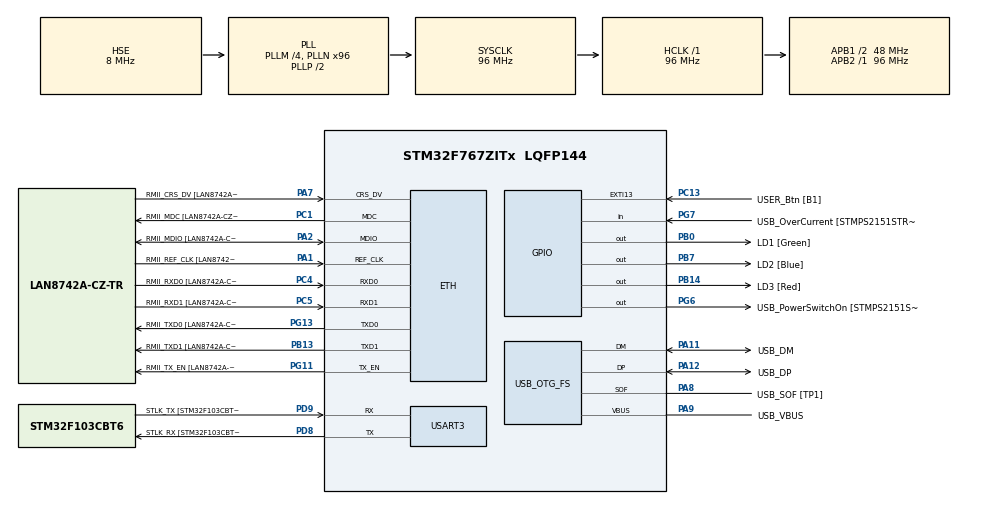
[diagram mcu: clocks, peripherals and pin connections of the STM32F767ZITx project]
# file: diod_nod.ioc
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ETH.MediaInterface=HAL_ETH_RMII_MODE
ETH.PHY_Name=LAN8742A_PHY_ADDRESS
ETH.PHY_Value=0
ETH.PhyAddress=0
Mcu.Family=STM32F7
Mcu.Name=STM32F767ZITx
Mcu.Package=LQFP144
NVIC.PriorityGroup=NVIC_PRIORITYGROUP_4
NVIC.USART3_IRQn=true\:0\:0\:false\:false\:true\:true\:true\:true
PA1.GPIO_Label=RMII_REF_CLK [LAN8742A-CZ-TR_REFCLK0]
PA1.Mode=RMII
PA1.Signal=ETH_REF_CLK
PA10.GPIO_Label=USB_ID
PA10.Signal=USB_OTG_FS_ID
PA11.GPIO_Label=USB_DM
PA11.Mode=Device_Only
PA11.Signal=USB_OTG_FS_DM
PA12.GPIO_Label=USB_DP
PA12.Mode=Device_Only
PA12.Signal=USB_OTG_FS_DP
PA13.GPIO_Label=TMS
PA13.Mode=Serial_Wire
PA13.Signal=SYS_JTMS-SWDIO
PA14.GPIO_Label=TCK
PA14.Mode=Serial_Wire
PA14.Signal=SYS_JTCK-SWCLK
PA2.GPIO_Label=RMII_MDIO [LAN8742A-CZ-TR_MDIO]
PA2.Mode=RMII
PA2.Signal=ETH_MDIO
PA7.GPIO_Label=RMII_CRS_DV [LAN8742A-CZ-TR_CRS_DV]
PA7.Mode=RMII
PA7.Signal=ETH_CRS_DV
PA8.GPIO_Label=USB_SOF [TP1]
PA8.Mode=Activate_SOF_FS
PA8.Signal=USB_OTG_FS_SOF
PA9.GPIO_Label=USB_VBUS
PA9.Mode=Activate_VBUS
PA9.Signal=USB_OTG_FS_VBUS
PB0.GPIO_Label=LD1 [Green]
PB0.Signal=GPIO_Output
PB13.GPIO_Label=RMII_TXD1 [LAN8742A-CZ-TR_TXD1]
PB13.Mode=RMII
PB13.Signal=ETH_TXD1
PB14.GPIO_Label=LD3 [Red]
PB14.Signal=GPIO_Output
PB3.GPIO_Label=SWO
PB3.Signal=SYS_JTDO-SWO
PB7.GPIO_Label=LD2 [Blue]
PB7.Signal=GPIO_Output
PC1.GPIO_Label=RMII_MDC [LAN8742A-CZ-TR_MDC]
PC1.Mode=RMII
PC1.Signal=ETH_MDC
PC13.GPIO_Label=USER_Btn [B1]
PC13.Signal=GPXTI13
PC14/OSC32_IN.Mode=LSE-External-Oscillator
PC14/OSC32_IN.Signal=RCC_OSC32_IN
PC15/OSC32_OUT.Mode=LSE-External-Oscillator
PC15/OSC32_OUT.Signal=RCC_OSC32_OUT
PC4.GPIO_Label=RMII_RXD0 [LAN8742A-CZ-TR_RXD0]
PC4.Mode=RMII
PC4.Signal=ETH_RXD0
PC5.GPIO_Label=RMII_RXD1 [LAN8742A-CZ-TR_RXD1]
PC5.Mode=RMII
PC5.Signal=ETH_RXD1
PD8.GPIO_Label=STLK_RX [STM32F103CBT6_PA3]
PD8.Mode=Asynchronous
PD8.Signal=USART3_TX
PD9.GPIO_Label=STLK_TX [STM32F103CBT6_PA2]
PD9.Mode=Asynchronous
PD9.Signal=USART3_RX
PG11.GPIO_Label=RMII_TX_EN [LAN8742A-CZ-TR_TXEN]
PG11.Mode=RMII
PG11.Signal=ETH_TX_EN
PG13.GPIO_Label=RMII_TXD0 [LAN8742A-CZ-TR_TXD0]
PG13.Mode=RMII
PG13.Signal=ETH_TXD0
PG6.GPIO_Label=USB_PowerSwitchOn [STMPS2151STR_EN]
PG6.Signal=GPIO_Output
PG7.GPIO_Label=USB_OverCurrent [STMPS2151STR_FAULT]
PG7.Signal=GPIO_Input
PH0/OSC_IN.GPIO_Label=MCO [STM32F103CBT6_PA8]
PH0/OSC_IN.Mode=HSE-External-Clock-Source
PH0/OSC_IN.Signal=RCC_OSC_IN
PH1/OSC_OUT.Mode=HSE-External-Clock-Source
PH1/OSC_OUT.Signal=RCC_OSC_OUT
ProjectManager.HeapSize=0x200
ProjectManager.StackSize=0x400
ProjectManager.TargetToolchain=STM32CubeIDE
RCC.48MHZClocksFreq_Value=24000000
RCC.AHBFreq_Value=96000000
RCC.APB1CLKDivider=RCC_HCLK_DIV2
RCC.APB1Freq_Value=48000000
RCC.APB1TimFreq_Value=96000000
RCC.APB2Freq_Value=96000000
RCC.APB2TimFreq_Value=96000000
RCC.CortexFreq_Value=96000000
RCC.HCLKFreq_Value=96000000
RCC.HSE_VALUE=8000000
RCC.HSI_VALUE=16000000
RCC.PLLM=4
RCC.PLLMUL=RCC_PLL_MUL9
RCC.PLLN=96
RCC.PLLQ=4
RCC.PRESCALERUSB=RCC_USBCLKSOURCE_PLL_DIV1_5
RCC.SYSCLKFreq_VALUE=96000000
RCC.SYSCLKSource=RCC_SYSCLKSOURCE_PLLCLK
RCC.SYSCLKSourceVirtual=RCC_SYSCLKSOURCE_PLLCLK
RCC.USBFreq_Value=48000000
RCC.VCOOutputFreq_Value=192000000
USART3.VirtualMode-Asynchronous=VM_ASYNC
USB_OTG_FS.VirtualMode=Device_Only
board=NUCLEO-F767ZI

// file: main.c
/* USER CODE BEGIN Header */
/**
  ******************************************************************************
  * @file           : main.c
  * @brief          : Main program body
  ******************************************************************************
  * @attention
  *
  * Copyright (c) 2025 STMicroelectronics.
  * All rights reserved.
  *
  * This software is licensed under terms that can be found in the LICENSE file
  * in the root directory of this software component.
  * If no LICENSE file comes with this software, it is provided AS-IS.
  *
  ******************************************************************************
  */
/* USER CODE END Header */
#include "main.h"
#include "string.h"

/* USER CODE BEGIN PTD */
#define RECIVE_BUFFER_SIZE 256
#define INVALID -1

typedef struct
{
	uint8_t text[RECIVE_BUFFER_SIZE];
	uint8_t pos;
	uint8_t parse_pos;
	uint8_t token[RECIVE_BUFFER_SIZE];
} buffer;
/* USER CODE END PTD */

#if defined ( __ICCARM__ ) /*!< IAR Compiler */
#pragma location=0x2007c000
ETH_DMADescTypeDef  DMARxDscrTab[ETH_RX_DESC_CNT]; /* Ethernet Rx DMA Descriptors */
#pragma location=0x2007c0a0
ETH_DMADescTypeDef  DMATxDscrTab[ETH_TX_DESC_CNT]; /* Ethernet Tx DMA Descriptors */

#elif defined ( __CC_ARM )  /* MDK ARM Compiler */

__attribute__((at(0x2007c000))) ETH_DMADescTypeDef  DMARxDscrTab[ETH_RX_DESC_CNT]; /* Ethernet Rx DMA Descriptors */
__attribute__((at(0x2007c0a0))) ETH_DMADescTypeDef  DMATxDscrTab[ETH_TX_DESC_CNT]; /* Ethernet Tx DMA Descriptors */

#elif defined ( __GNUC__ ) /* GNU Compiler */

ETH_DMADescTypeDef DMARxDscrTab[ETH_RX_DESC_CNT] __attribute__((section(".RxDecripSection"))); /* Ethernet Rx DMA Descriptors */
ETH_DMADescTypeDef DMATxDscrTab[ETH_TX_DESC_CNT] __attribute__((section(".TxDecripSection")));   /* Ethernet Tx DMA Descriptors */
#endif

ETH_TxPacketConfig TxConfig;

ETH_HandleTypeDef heth;

UART_HandleTypeDef huart3;

PCD_HandleTypeDef hpcd_USB_OTG_FS;

/* USER CODE BEGIN PV */
char* error_msg = "\nerror invalid arguments";
char* success_msg = "\nok";

static uint16_t LD_Pins[3] = {LD1_Pin, LD2_Pin, LD3_Pin};
static unsigned long LD_Ports[3] = {LD1_GPIO_Port, LD2_GPIO_Port, LD3_GPIO_Port};

buffer buf;
/* USER CODE END PV */

void SystemClock_Config(void);
static void MX_GPIO_Init(void);
static void MX_ETH_Init(void);
static void MX_USART3_UART_Init(void);
static void MX_USB_OTG_FS_PCD_Init(void);

/* USER CODE BEGIN 0 */

void uart_print(char* str)
{
    HAL_UART_Transmit(&huart3, str, strlen(str), HAL_MAX_DELAY);
}

void uart_print_int(int num)
{
	char str[20] = {0};
	sprintf(str, "%d", num);
	uart_print(str);
}

int try_switch_LD(GPIO_PinState state, int diod_index)
{
	if (diod_index < 1 || diod_index > 3)
	{
		uart_print(error_msg);
		return 1;
	}
	uart_print(success_msg);
	HAL_GPIO_WritePin(LD_Ports[diod_index - 1], LD_Pins[diod_index - 1], state);
	return 0;
}

// Read token (space separated string) from global buffer. Stored in buffer.token field.
// Parsing state persists in global buffer object, so each call reads next token.
char* buffer_get_next_token()
{
	// skip whitespaces
	while (buf.parse_pos < buf.pos && buf.text[buf.parse_pos] == ' ')
		++buf.parse_pos;

	size_t token_pos = 0;
	while (buf.parse_pos < buf.pos && buf.text[buf.parse_pos] != ' ' && buf.parse_pos < RECIVE_BUFFER_SIZE - 1)
		buf.token[token_pos++] = buf.text[buf.parse_pos++];
	buf.token[token_pos] = '\0';

	return buf.token;
}

// Returns number from string as int. Returns 0 if string contains non digit symbols
int parse_integer(char* str)
{
	int number = 0;
	int i = 0;
	int len = strlen(str);
	while (i < len)
	{
		if (str[i] >= '0' && str[i] <= '9')
			number = number * 10 + (str[i++] - '0');
		else
			return 0;
	}
	return number;
}

void HAL_UART_RxCpltCallback(UART_HandleTypeDef *huart)
{
	 if (huart == &huart3)
	 {
		 // Output all pressed keys back to user.
		 HAL_UART_Transmit(&huart3, buf.text + buf.pos, 1, HAL_MAX_DELAY);

		 // If end of command occurs
		 if (buf.text[buf.pos] == '\r')
		 {
			 buffer_get_next_token();
			 GPIO_PinState state = INVALID;
			 if (strcmp(buf.token, "on") == 0)
				 state = GPIO_PIN_SET;
			 else if (strcmp(buf.token, "off") == 0)
				 state = GPIO_PIN_RESET;

			 if (state == INVALID)
			 {
				 uart_print(error_msg);
			 }
			 else
			 {
				 int diod_num = parse_integer(buffer_get_next_token());

				 // Print error if there is more than two arguments
				 if (strlen(buffer_get_next_token()) > 0)
					 uart_print(error_msg);
				 else
					 try_switch_LD(state, diod_num);
			 }

			 uart_print("\n\r");
			 memset(&buf, 0, sizeof(buf));
		 }
		 else
			 ++buf.pos;

		 HAL_UART_Receive_IT(&huart3, buf.text + buf.pos, 1);
	 }
}

/* USER CODE END 0 */

int main(void)
{

  /* MCU Configuration--------------------------------------------------------*/

  /* Reset of all peripherals, Initializes the Flash interface and the Systick. */
  HAL_Init();

  /* Configure the system clock */
  SystemClock_Config();

  /* Initialize all configured peripherals */
  MX_GPIO_Init();
  MX_ETH_Init();
  MX_USART3_UART_Init();
  MX_USB_OTG_FS_PCD_Init();
  /* USER CODE BEGIN 2 */
  memset(&buf, 0, sizeof(buf));
  HAL_UART_Receive_IT(&huart3, buf.text, 1);
  /* USER CODE END 2 */

  /* Infinite loop */
  while (1)
  {

  }
}

void SystemClock_Config(void)
{
  RCC_OscInitTypeDef RCC_OscInitStruct = {0};
  RCC_ClkInitTypeDef RCC_ClkInitStruct = {0};

  /** Configure LSE Drive Capability
  */
  HAL_PWR_EnableBkUpAccess();

  /** Configure the main internal regulator output voltage
  */
  __HAL_RCC_PWR_CLK_ENABLE();
  __HAL_PWR_VOLTAGESCALING_CONFIG(PWR_REGULATOR_VOLTAGE_SCALE3);

  /** Initializes the RCC Oscillators according to the specified parameters
  * in the RCC_OscInitTypeDef structure.
  */
  RCC_OscInitStruct.OscillatorType = RCC_OSCILLATORTYPE_HSE;
  RCC_OscInitStruct.HSEState = RCC_HSE_BYPASS;
  RCC_OscInitStruct.PLL.PLLState = RCC_PLL_ON;
  RCC_OscInitStruct.PLL.PLLSource = RCC_PLLSOURCE_HSE;
  RCC_OscInitStruct.PLL.PLLM = 4;
  RCC_OscInitStruct.PLL.PLLN = 96;
  RCC_OscInitStruct.PLL.PLLP = RCC_PLLP_DIV2;
  RCC_OscInitStruct.PLL.PLLQ = 4;
  RCC_OscInitStruct.PLL.PLLR = 2;
  if (HAL_RCC_OscConfig(&RCC_OscInitStruct) != HAL_OK)
  {
    Error_Handler();
  }

  /** Activate the Over-Drive mode
  */
  if (HAL_PWREx_EnableOverDrive() != HAL_OK)
  {
    Error_Handler();
  }

  /** Initializes the CPU, AHB and APB buses clocks
  */
  RCC_ClkInitStruct.ClockType = RCC_CLOCKTYPE_HCLK|RCC_CLOCKTYPE_SYSCLK
                              |RCC_CLOCKTYPE_PCLK1|RCC_CLOCKTYPE_PCLK2;
  RCC_ClkInitStruct.SYSCLKSource = RCC_SYSCLKSOURCE_PLLCLK;
  RCC_ClkInitStruct.AHBCLKDivider = RCC_SYSCLK_DIV1;
  RCC_ClkInitStruct.APB1CLKDivider = RCC_HCLK_DIV2;
  RCC_ClkInitStruct.APB2CLKDivider = RCC_HCLK_DIV1;

  if (HAL_RCC_ClockConfig(&RCC_ClkInitStruct, FLASH_LATENCY_3) != HAL_OK)
  {
    Error_Handler();
  }
}

static void MX_ETH_Init(void)
{

   static uint8_t MACAddr[6];

  heth.Instance = ETH;
  MACAddr[0] = 0x00;
  MACAddr[1] = 0x80;
  MACAddr[2] = 0xE1;
  MACAddr[3] = 0x00;
  MACAddr[4] = 0x00;
  MACAddr[5] = 0x00;
  heth.Init.MACAddr = &MACAddr[0];
  heth.Init.MediaInterface = HAL_ETH_RMII_MODE;
  heth.Init.TxDesc = DMATxDscrTab;
  heth.Init.RxDesc = DMARxDscrTab;
  heth.Init.RxBuffLen = 1524;

  if (HAL_ETH_Init(&heth) != HAL_OK)
  {
    Error_Handler();
  }

  memset(&TxConfig, 0 , sizeof(ETH_TxPacketConfig));
  TxConfig.Attributes = ETH_TX_PACKETS_FEATURES_CSUM | ETH_TX_PACKETS_FEATURES_CRCPAD;
  TxConfig.ChecksumCtrl = ETH_CHECKSUM_IPHDR_PAYLOAD_INSERT_PHDR_CALC;
  TxConfig.CRCPadCtrl = ETH_CRC_PAD_INSERT;

}

static void MX_USART3_UART_Init(void)
{

  huart3.Instance = USART3;
  huart3.Init.BaudRate = 115200;
  huart3.Init.WordLength = UART_WORDLENGTH_8B;
  huart3.Init.StopBits = UART_STOPBITS_1;
  huart3.Init.Parity = UART_PARITY_NONE;
  huart3.Init.Mode = UART_MODE_TX_RX;
  huart3.Init.HwFlowCtl = UART_HWCONTROL_NONE;
  huart3.Init.OverSampling = UART_OVERSAMPLING_16;
  huart3.Init.OneBitSampling = UART_ONE_BIT_SAMPLE_DISABLE;
  huart3.AdvancedInit.AdvFeatureInit = UART_ADVFEATURE_NO_INIT;
  if (HAL_UART_Init(&huart3) != HAL_OK)
  {
    Error_Handler();
  }

}

static void MX_USB_OTG_FS_PCD_Init(void)
{

  hpcd_USB_OTG_FS.Instance = USB_OTG_FS;
  hpcd_USB_OTG_FS.Init.dev_endpoints = 6;
  hpcd_USB_OTG_FS.Init.speed = PCD_SPEED_FULL;
  hpcd_USB_OTG_FS.Init.dma_enable = DISABLE;
  hpcd_USB_OTG_FS.Init.phy_itface = PCD_PHY_EMBEDDED;
  hpcd_USB_OTG_FS.Init.Sof_enable = ENABLE;
  hpcd_USB_OTG_FS.Init.low_power_enable = DISABLE;
  hpcd_USB_OTG_FS.Init.lpm_enable = DISABLE;
  hpcd_USB_OTG_FS.Init.vbus_sensing_enable = ENABLE;
  hpcd_USB_OTG_FS.Init.use_dedicated_ep1 = DISABLE;
  if (HAL_PCD_Init(&hpcd_USB_OTG_FS) != HAL_OK)
  {
    Error_Handler();
  }

}

static void MX_GPIO_Init(void)
{
  GPIO_InitTypeDef GPIO_InitStruct = {0};

  /* GPIO Ports Clock Enable */
  __HAL_RCC_GPIOC_CLK_ENABLE();
  __HAL_RCC_GPIOH_CLK_ENABLE();
  __HAL_RCC_GPIOA_CLK_ENABLE();
  __HAL_RCC_GPIOB_CLK_ENABLE();
  __HAL_RCC_GPIOD_CLK_ENABLE();
  __HAL_RCC_GPIOG_CLK_ENABLE();

  /*Configure GPIO pin Output Level */
  HAL_GPIO_WritePin(GPIOB, LD1_Pin|LD3_Pin|LD2_Pin, GPIO_PIN_RESET);

  /*Configure GPIO pin Output Level */
  HAL_GPIO_WritePin(USB_PowerSwitchOn_GPIO_Port, USB_PowerSwitchOn_Pin, GPIO_PIN_RESET);

  /*Configure GPIO pin : USER_Btn_Pin */
  GPIO_InitStruct.Pin = USER_Btn_Pin;
  GPIO_InitStruct.Mode = GPIO_MODE_IT_RISING;
  GPIO_InitStruct.Pull = GPIO_NOPULL;
  HAL_GPIO_Init(USER_Btn_GPIO_Port, &GPIO_InitStruct);

  /*Configure GPIO pins : LD1_Pin LD3_Pin LD2_Pin */
  GPIO_InitStruct.Pin = LD1_Pin|LD3_Pin|LD2_Pin;
  GPIO_InitStruct.Mode = GPIO_MODE_OUTPUT_PP;
  GPIO_InitStruct.Pull = GPIO_NOPULL;
  GPIO_InitStruct.Speed = GPIO_SPEED_FREQ_LOW;
  HAL_GPIO_Init(GPIOB, &GPIO_InitStruct);

  /*Configure GPIO pin : USB_PowerSwitchOn_Pin */
  GPIO_InitStruct.Pin = USB_PowerSwitchOn_Pin;
  GPIO_InitStruct.Mode = GPIO_MODE_OUTPUT_PP;
  GPIO_InitStruct.Pull = GPIO_NOPULL;
  GPIO_InitStruct.Speed = GPIO_SPEED_FREQ_LOW;
  HAL_GPIO_Init(USB_PowerSwitchOn_GPIO_Port, &GPIO_InitStruct);

  /*Configure GPIO pin : USB_OverCurrent_Pin */
  GPIO_InitStruct.Pin = USB_OverCurrent_Pin;
  GPIO_InitStruct.Mode = GPIO_MODE_INPUT;
  GPIO_InitStruct.Pull = GPIO_NOPULL;
  HAL_GPIO_Init(USB_OverCurrent_GPIO_Port, &GPIO_InitStruct);

}

void Error_Handler(void)
{
  __disable_irq();
  while (1)
  {
  }
}
